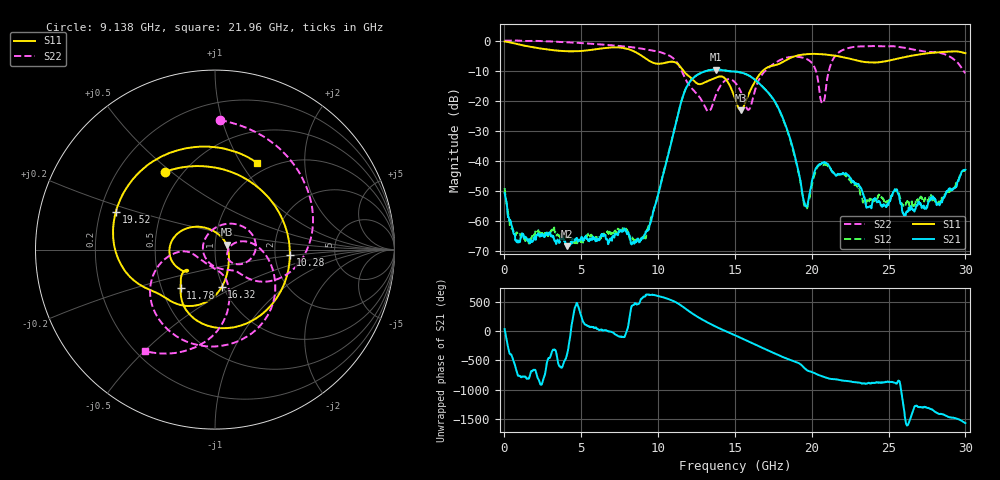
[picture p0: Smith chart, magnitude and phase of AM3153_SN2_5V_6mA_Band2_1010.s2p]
!Agilent Technologies,E8364B,MY43040894,A.07.50.67
!Agilent E8364B: A.07.50.67
!Date: Tuesday, May 12, 2020 09:52:05
!Correction: S11(Full 2 Port(1,2))
!S21(Full 2 Port(1,2))
!S12(Full 2 Port(1,2))
!S22(Full 2 Port(1,2))
!S2P File: Measurements: S11, S21, S12, S22:
# Hz S  dB  R 50
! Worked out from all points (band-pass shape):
!   1601 points, 10 MHz to 30 GHz, reference 50 ohm
!   highest |S21| = -9.62 dB at 13.77 GHz (marker M1); lowest = -68.3 dB at 4.077 GHz (marker M2)
!   |S21| within 3 dB of the highest: 12.25 GHz to 16.21 GHz (3.961 GHz wide, 27.8 % of centre)
!   lowest |S11| = -23.1 dB at 15.38 GHz (marker M3), VSWR 1.15, Z = 56.8 + j3.11 ohm
!   |S11| at or under -10 dB: 11.64 GHz to 16.82 GHz (5.177 GHz wide, 36.4 % of centre)
!   |S22| runs from -23.5 to 0.1 dB; largest |S21 - S12| = 0.0071
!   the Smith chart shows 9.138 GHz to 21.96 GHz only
!   S11 on the Smith chart (normalised r, x): 9.138 GHz: 0.40, +0.47; 10.28 GHz: 2.42, -0.17; 11.78 GHz: 0.63, -0.29; 16.32 GHz: 0.98, -0.43; 19.52 GHz: 0.27, +0.17; 21.96 GHz: 0.87, +1.18
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1e7  -0.28 -6.1  -50.58 37.0  -49.00 33.5  0.01 -1.4
1.003419e9  -1.37 -79.2  -66.96 -48.1  -64.30 60.1  -0.02 -29.7
2.184275e9  -2.49 -154.5  -64.38 -94.6  -63.08 -26.3  -0.12 -64.4
4.077394e9  -3.53 101.1  -68.30 -33.0  -64.93 122.1  -0.52 -118.4
5.014581e9  -3.44 48.5  -65.41 -117.1  -66.69 -84.0  -0.80 -145.0
7.245088e9  -2.23 -88.9  -64.31 -60.6  -63.76 -38.9  -1.66 150.9
8.25725e9  -3.18 -161.1  -67.38 53.3  -65.11 -153.8  -2.17 118.8
9.138206e9  -5.75 122.9  -64.38 -125.8  -65.65 -12.5  -2.83 87.9
1.001916e10  -7.70 25.9  -50.79 -116.2  -50.80 -115.4  -3.67 51.2
1.028158e10  -7.58 -4.0  -45.25 -135.5  -45.22 -134.2  -4.06 38.7
1.178108e10  -10.84 -131.8  -16.25 27.5  -16.18 26.6  -12.81 -41.9
1.376791e10  -12.31 -160.5  -9.62 77.6  -9.54 76.9  -17.98 85.8
1.5005e10  -19.25 98.5  -10.26 -68.9  -10.32 -69.8  -13.87 -16.0
1.537988e10  -23.09 22.9  -10.55 -114.0  -10.61 -114.5  -16.95 -34.7
1.631706e10  -13.48 -79.8  -13.04 130.7  -13.02 129.8  -16.35 17.6
1.952224e10  -4.57 159.2  -53.90 87.1  -54.85 86.4  -5.82 -123.3
2.000958e10  -4.41 141.3  -46.75 18.9  -48.07 20.4  -7.46 -148.5
2.07031e10  -4.51 115.3  -40.52 -56.0  -41.39 -53.7  -20.79 -123.6
2.195893e10  -5.41 64.0  -44.41 -125.7  -44.14 -120.6  -3.26 -124.7
2.501416e10  -6.64 -106.3  -53.72 -153.3  -52.96 -142.9  -1.86 134.6
2.698226e10  -4.61 163.9  -53.88 136.0  -52.15 153.3  -3.34 85.0
3e10  -4.15 80.0  -42.91 -137.0  -42.92 -136.0  -10.82 -9.5
